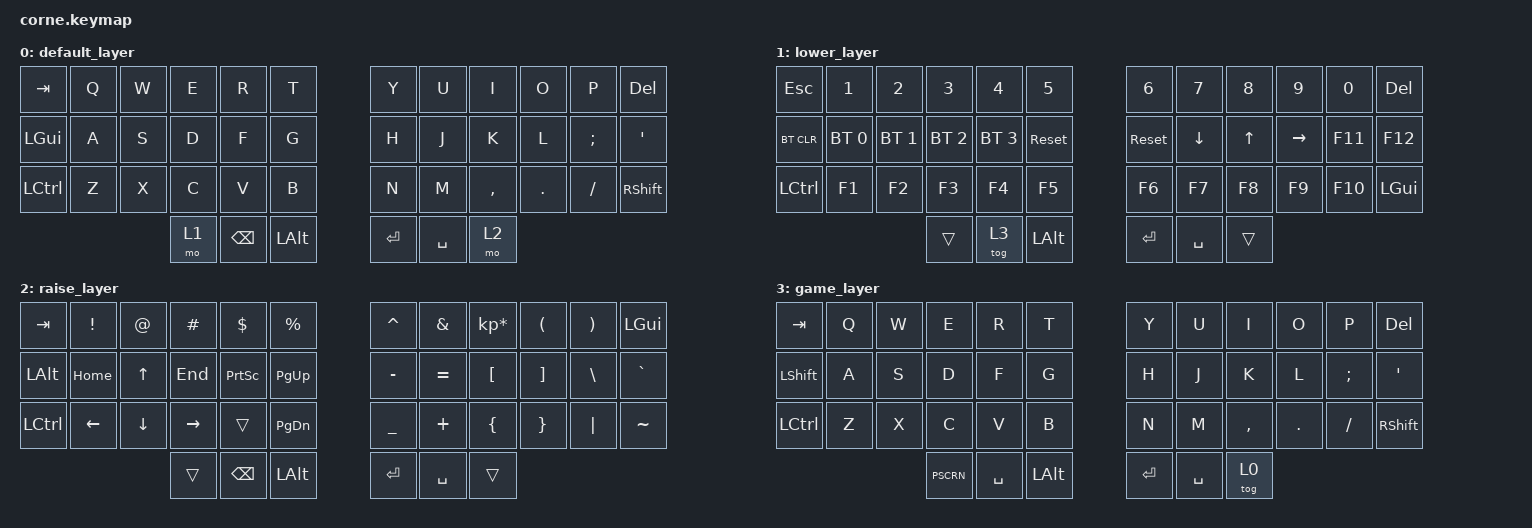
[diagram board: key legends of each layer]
/*
*
* Copyright (c) 2021 Darryl deHaan
* SPDX-License-Identifier: MIT
*
*/

#include <behaviors.dtsi>
#include <dt-bindings/zmk/keys.h>
#include <dt-bindings/zmk/bt.h>

/ {
        keymap {
                compatible = "zmk,keymap";

                default_layer {
// -----------------------------------------------------------------------------------------
// |  TAB |  Q  |  W  |  E  |  R  |  T  |   |  Y  |  U   |  I  |  O  |  P  | LGUI |
// | ALT |  A  |  S  |  D  |  F  |  G  |   |  H  |  J   |  K  |  L  |  ;  |  '   |
// | CTRL |  Z  |  X  |  C  |  V  |  B  |   |  N  |  M   |  ,  |  .  |  /  | SHFT  |
//                    | LWR | BSP | DEL |   | SPC | RET  | RAISE |
                        bindings = <
   &kp TAB      &kp Q           &kp W     &kp E     &kp R      &kp T           &kp Y           &kp U   &kp I     &kp O   &kp P    &kp DEL
   &kp LGUI     &kp A           &kp S     &kp D     &kp F      &kp G           &kp H           &kp J   &kp K     &kp L   &kp SEMI &kp SQT
   &kp LCTRL    &kp Z      &kp X     &kp C     &kp V      &kp B           &kp N           &kp M   &kp COMMA &kp DOT &kp FSLH &kp RSHFT
                                    &mo 1     &kp BSPC   &kp LALT         &kp RET         &kp SPACE &mo 2
                        >;
                };
                lower_layer {
// -----------------------------------------------------------------------------------------
// |  TAB |  1  |  2  |  3  |  4  |  5  |   |  6  |  7  |  8  |  9  |  0  | BKSP |
// | BTCLR| BT1 | BT2 | BT3 | BT4 | BT5 |   | LFT | DWN |  UP | RGT |F11  | F12  |
// | CTRL | F1  | F2  | F3  | F4  | F5  |   | F6  | F7  | F8  | F9  |F10  |SHIFT   |
//                    | LWR | BSP | DEL |   | SPC | RET  | RAISE |
                        bindings = <
   &kp ESC    &kp N1       &kp N2       &kp N3       &kp N4       &kp N5         &kp N6         &kp N7    &kp N8 &kp N9    &kp N0 &kp DEL
   &bt BT_CLR &bt BT_SEL 0 &bt BT_SEL 1 &bt BT_SEL 2 &bt BT_SEL 3 &sys_reset        &sys_reset       &kp DOWN  &kp UP &kp RIGHT &kp F11 &kp F12
   &kp LCTRL  &kp F1       &kp F2       &kp F3       &kp F4       &kp F5         &kp F6         &kp F7    &kp F8 &kp F9    &kp F10 &kp LGUI
                          	        &trans       &tog 3      &kp LALT        &kp RET      &kp SPACE   &trans
                        >;
                };

                raise_layer {
// -----------------------------------------------------------------------------------------
// |  TAB |  !  |  @  |  #  |  $  |  %  |   |  ^  |  &  |  *  |  (  |  )  | BKSP |
// | CTRL |HOME | UP  | END |PSCRN|PG_UP|   |  -  |  =  |  [  |  ]  |  \  |  `   |
// | SHFT |LFT  |DWN  | RGT |     |PG_DN|   |  _  |  +  |  {  |  }  | "|" |  ~   |
//                    | LWR | BSP | DEL |   | SPC | RET  | RAISE |
                        bindings = <
        &kp  TAB  &kp EXCL  &kp AT   &kp HASH   &kp DLLR  &kp PRCNT   &kp CARET  &kp AMPS  &kp KP_MULTIPLY &kp LPAR &kp RPAR &kp LGUI
        &kp LALT  &kp HOME  &kp UP   &kp END    &kp PSCRN &kp PG_UP   &kp MINUS  &kp EQUAL &kp LBKT        &kp RBKT &kp BSLH &kp GRAVE
        &kp LCTRL &kp LEFT  &kp DOWN &kp RIGHT  &trans    &kp PG_DN   &kp UNDER  &kp PLUS  &kp LBRC        &kp RBRC &kp PIPE &kp TILDE
                          	    &trans     &kp BSPC  &kp LALT     &kp RET  &kp SPACE   &trans
                        >;
                };

                game_layer {
// -----------------------------------------------------------------------------------------
// |  TAB |  !  |  @  |  #  |  $  |  %  |   |  ^  |  &  |  *  |  (  |  )  | BKSP |
// | CTRL |HOME | UP  | END |PSCRN|PG_UP|   |  -  |  =  |  [  |  ]  |  \  |  `   |
// | SHFT |LFT  |DWN  | RGT |     |PG_DN|   |  _  |  +  |  {  |  }  | "|" |  ~   |
//                    | LWR | BSP | DEL |   | SPC | RET  | RAISE |
                        bindings = <
   &kp TAB      &kp Q      &kp W     &kp E     &kp R      &kp T           &kp Y           &kp U   &kp I     &kp O   &kp P    &kp DEL
   &kp LSHIFT   &kp A      &kp S     &kp D     &kp F      &kp G           &kp H           &kp J   &kp K     &kp L   &kp SEMI &kp SQT
   &kp LCTRL    &kp Z      &kp X     &kp C     &kp V      &kp B           &kp N           &kp M   &kp COMMA &kp DOT &kp FSLH &kp RSHFT
                          	    &PSCRN     &kp SPACE  &kp LALT     &kp RET  &kp SPACE   &tog 0
                        >;
                };
        };
};
